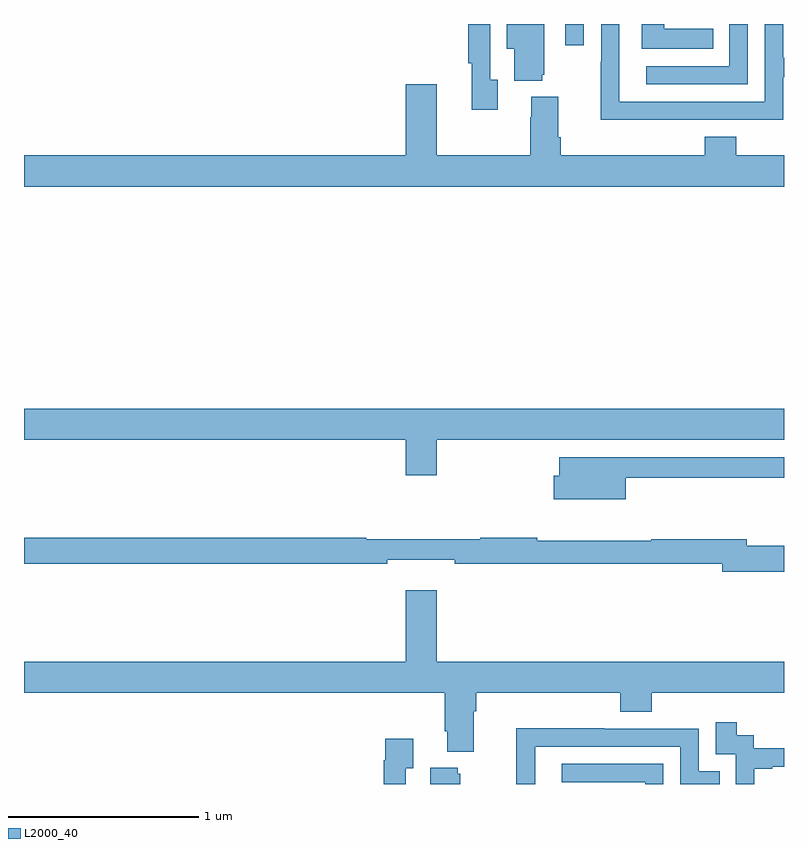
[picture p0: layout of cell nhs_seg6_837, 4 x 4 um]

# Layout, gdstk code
import gdstk
lib = gdstk.Library(unit=1e-6, precision=1e-09)
def R(c, l, rs):  # rectangles x0, y0, x1, y1
    for r in rs: c.add(gdstk.rectangle(r[:2], r[2:], *l))
def P(c, l, *ps):  # polygons
    for p in ps: c.add(gdstk.Polygon(p, *l))
L2000_40 = (2000, 40)

nhs_seg6_837 = lib.new_cell('nhs_seg6_837')
R(nhs_seg6_837, L2000_40, [(165.849,973.389,165.945,973.5)])
P(nhs_seg6_837, L2000_40, [(165.493,973.206),(165.453,973.206),(165.453,973.5),(165.337,973.5),(165.337,973.294),(165.356,973.294),(165.356,973.05),(165.493,973.05)],
  [(166.628,973.474),(166.371,973.474),(166.371,973.5),(166.25,973.5),(166.25,973.37),(166.628,973.37)],
  [(165.728,973.233),(165.739,973.233),(165.739,973.5),(165.542,973.5),(165.542,973.37),(165.581,973.37),(165.581,973.202),(165.728,973.202)],
  [(166.809,973.5),(166.713,973.5),(166.713,973.278),(166.275,973.278),(166.275,973.182),(166.809,973.182)],
  [(166.499,972.996),(166.995,972.996),(166.995,973.221),(167,973.221),(167,973.322),(166.995,973.322),(166.995,973.5),(166.899,973.5),(166.899,973.092),(166.134,973.092),(166.134,973.5),(166.038,973.5),(166.038,973.301),(166.036,973.301),(166.036,972.995),(166.499,972.995)],
  [(167,972.808),(166.748,972.808),(166.748,972.907),(166.583,972.907),(166.583,972.808),(165.824,972.808),(165.824,972.904),(165.811,972.904),(165.811,973.117),(165.671,973.117),(165.671,973.01),(165.664,973.01),(165.664,972.808),(165.172,972.808),(165.172,973.183),(165.008,973.183),(165.008,972.808),(163,972.808),(163,972.644),(167,972.644)],
  [(165.172,971.312),(167,971.312),(167,971.476),(163,971.476),(163,971.312),(165.008,971.312),(165.008,971.124),(165.172,971.124)],
  [(166.168,971.112),(167,971.112),(167,971.22),(166.064,971.22),(166.064,971.221),(165.818,971.221),(165.818,971.122),(165.788,971.122),(165.788,971),(166.168,971)],
  [(167,970.755),(166.804,970.755),(166.804,970.789),(166.3,970.789),(166.3,970.779),(165.7,970.779),(165.7,970.796),(165.4,970.796),(165.4,970.789),(164.8,970.789),(164.8,970.796),(163,970.796),(163,970.66),(164.912,970.66),(164.912,970.679),(165.268,970.679),(165.268,970.66),(166.676,970.66),(166.676,970.618),(167,970.618)],
  [(165.172,970.519),(165.008,970.519),(165.008,970.144),(163,970.144),(163,969.98),(165.215,969.98),(165.215,969.778),(165.227,969.778),(165.227,969.671),(165.367,969.671),(165.367,969.884),(165.38,969.884),(165.38,969.98),(166.139,969.98),(166.139,969.881),(166.304,969.881),(166.304,969.98),(167,969.98),(167,970.144),(165.172,970.144)],
  [(166.844,969.579),(166.939,969.579),(166.939,969.591),(167,969.591),(167,969.687),(166.842,969.687),(166.842,969.756),(166.75,969.756),(166.75,969.826),(166.641,969.826),(166.641,969.657),(166.746,969.657),(166.746,969.5),(166.844,969.5)],
  [(165.69,969.696),(166.455,969.696),(166.455,969.5),(166.661,969.5),(166.661,969.567),(166.551,969.567),(166.551,969.792),(166.055,969.792),(166.055,969.794),(165.592,969.794),(165.592,969.5),(165.69,969.5)],
  [(165.009,969.583),(165.049,969.583),(165.049,969.739),(164.901,969.739),(164.901,969.626),(164.893,969.626),(164.893,969.5),(165.009,969.5)],
  [(166.365,969.606),(165.831,969.606),(165.831,969.51),(166.269,969.51),(166.269,969.5),(166.365,969.5)],
  [(165.295,969.555),(165.284,969.555),(165.284,969.586),(165.137,969.586),(165.137,969.5),(165.295,969.5)])

lib.write_gds('nhs_seg6_837.gds')
